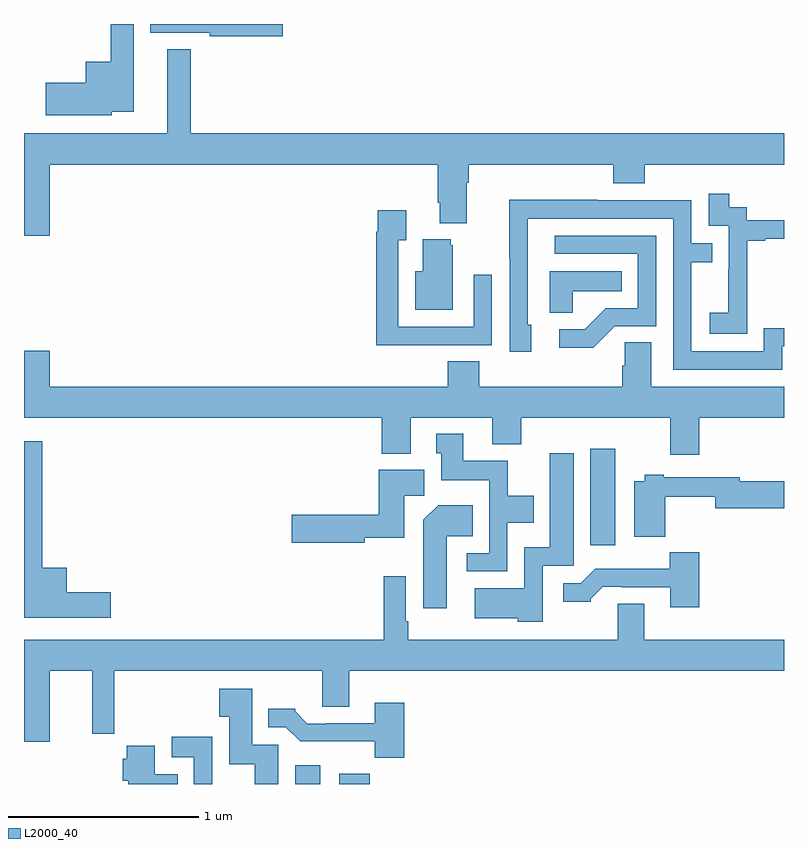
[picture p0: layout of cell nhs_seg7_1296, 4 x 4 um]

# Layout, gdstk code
import gdstk
lib = gdstk.Library(unit=1e-6, precision=1e-09)
def R(c, l, rs):  # rectangles x0, y0, x1, y1
    for r in rs: c.add(gdstk.rectangle(r[:2], r[2:], *l))
def P(c, l, *ps):  # polygons
    for p in ps: c.add(gdstk.Polygon(p, *l))
L2000_40 = (2000, 40)

nhs_seg7_1296 = lib.new_cell('nhs_seg7_1296')
R(nhs_seg7_1296, L2000_40, [(202.427,1020,202.558,1020.1), (202.658,1020,202.82,1020.055), (203.981,1021.257,204.112,1021.765)])
P(nhs_seg7_1296, L2000_40, [(202.363,1024),(201.665,1024),(201.665,1023.953),(201.978,1023.953),(201.978,1023.935),(202.363,1023.935)],
  [(201.462,1023.539),(201.577,1023.539),(201.577,1024),(201.456,1024),(201.456,1023.802),(201.326,1023.802),(201.326,1023.692),(201.114,1023.692),(201.114,1023.521),(201.462,1023.521)],
  [(201.136,1023.26),(203.177,1023.26),(203.177,1023.058),(203.189,1023.058),(203.189,1022.951),(203.329,1022.951),(203.329,1023.164),(203.342,1023.164),(203.342,1023.26),(204.101,1023.26),(204.101,1023.161),(204.266,1023.161),(204.266,1023.26),(205,1023.26),(205,1023.424),(201.877,1023.424),(201.877,1023.868),(201.755,1023.868),(201.755,1023.424),(201,1023.424),(201,1022.886),(201.136,1022.886)],
  [(204.807,1022.575),(204.806,1022.575),(204.806,1022.859),(204.901,1022.859),(204.901,1022.871),(205,1022.871),(205,1022.967),(204.804,1022.967),(204.804,1023.036),(204.712,1023.036),(204.712,1023.106),(204.603,1023.106),(204.603,1022.937),(204.708,1022.937),(204.708,1022.708),(204.707,1022.708),(204.707,1022.479),(204.609,1022.479),(204.609,1022.369),(204.807,1022.369)],
  [(204.991,1022.304),(205,1022.304),(205,1022.4),(204.894,1022.4),(204.894,1022.277),(204.513,1022.277),(204.513,1022.746),(204.623,1022.746),(204.623,1022.847),(204.513,1022.847),(204.513,1023.072),(204.017,1023.072),(204.017,1023.074),(203.554,1023.074),(203.554,1022.767),(203.556,1022.767),(203.556,1022.274),(203.671,1022.274),(203.671,1022.418),(203.652,1022.418),(203.652,1022.976),(204.417,1022.976),(204.417,1022.181),(204.991,1022.181)],
  [(203.147,1022.31),(203.463,1022.31),(203.463,1022.68),(203.367,1022.68),(203.367,1022.406),(202.971,1022.406),(202.971,1022.863),(203.011,1022.863),(203.011,1023.019),(202.863,1023.019),(202.863,1022.906),(202.855,1022.906),(202.855,1022.309),(203.147,1022.309)],
  [(204.108,1022.409),(204.327,1022.409),(204.327,1022.886),(203.793,1022.886),(203.793,1022.79),(204.231,1022.79),(204.231,1022.505),(204.062,1022.505),(203.951,1022.394),(203.817,1022.394),(203.817,1022.297),(203.995,1022.297)],
  [(203.257,1022.835),(203.246,1022.835),(203.246,1022.866),(203.099,1022.866),(203.099,1022.698),(203.06,1022.698),(203.06,1022.495),(203.257,1022.495)],
  [(203.889,1022.594),(204.146,1022.594),(204.146,1022.698),(203.768,1022.698),(203.768,1022.479),(203.889,1022.479)],
  [(204.554,1021.928),(205,1021.928),(205,1022.092),(204.301,1022.092),(204.301,1022.324),(204.162,1022.324),(204.162,1022.201),(204.149,1022.201),(204.149,1022.092),(203.396,1022.092),(203.396,1022.225),(203.231,1022.225),(203.231,1022.092),(201.136,1022.092),(201.136,1022.281),(201,1022.281),(201,1021.928),(202.883,1021.928),(202.883,1021.739),(203.035,1021.739),(203.035,1021.928),(203.465,1021.928),(203.465,1021.787),(203.618,1021.787),(203.618,1021.928),(204.401,1021.928),(204.401,1021.734),(204.554,1021.734)],
  [(203.544,1021.376),(203.683,1021.376),(203.683,1021.516),(203.547,1021.516),(203.547,1021.702),(203.311,1021.702),(203.311,1021.843),(203.171,1021.843),(203.171,1021.74),(203.195,1021.74),(203.195,1021.598),(203.448,1021.598),(203.448,1021.215),(203.331,1021.215),(203.331,1021.119),(203.544,1021.119)],
  [(201.457,1021.01),(201.226,1021.01),(201.226,1021.138),(201.097,1021.138),(201.097,1021.804),(201,1021.804),(201,1020.875),(201.457,1020.875)],
  [(203.73,1021.149),(203.893,1021.149),(203.893,1021.741),(203.768,1021.741),(203.768,1021.246),(203.634,1021.246),(203.634,1021.03),(203.373,1021.03),(203.373,1020.872),(203.598,1020.872),(203.598,1020.854),(203.73,1020.854)],
  [(202.794,1021.295),(203.002,1021.295),(203.002,1021.516),(203.107,1021.516),(203.107,1021.654),(202.868,1021.654),(202.868,1021.418),(202.41,1021.418),(202.41,1021.271),(202.794,1021.271)],
  [(204.374,1021.513),(204.638,1021.513),(204.638,1021.451),(205,1021.451),(205,1021.593),(204.766,1021.593),(204.766,1021.614),(204.367,1021.614),(204.367,1021.627),(204.267,1021.627),(204.267,1021.594),(204.212,1021.594),(204.212,1021.301),(204.374,1021.301)],
  [(203.224,1021.304),(203.363,1021.304),(203.363,1021.468),(203.18,1021.468),(203.102,1021.39),(203.102,1020.924),(203.224,1020.924)],
  [(204.554,1021.219),(204.399,1021.219),(204.399,1021.132),(204.007,1021.132),(203.931,1021.056),(203.838,1021.056),(203.838,1020.959),(203.982,1020.959),(203.982,1020.974),(204.046,1021.038),(204.145,1021.038),(204.145,1021.035),(204.401,1021.035),(204.401,1020.93),(204.554,1020.93)],
  [(201.136,1020.596),(201.358,1020.596),(201.358,1020.264),(201.476,1020.264),(201.476,1020.596),(202.571,1020.596),(202.571,1020.406),(202.711,1020.406),(202.711,1020.596),(205,1020.596),(205,1020.76),(204.265,1020.76),(204.265,1020.95),(204.125,1020.95),(204.125,1020.76),(203.023,1020.76),(203.023,1020.856),(203.01,1020.856),(203.01,1021.093),(202.894,1021.093),(202.894,1020.76),(201,1020.76),(201,1020.222),(201.136,1020.222)],
  [(202.339,1020.207),(202.201,1020.207),(202.201,1020.502),(202.028,1020.502),(202.028,1020.355),(202.079,1020.355),(202.079,1020.104),(202.214,1020.104),(202.214,1020),(202.339,1020)],
  [(203,1020.427),(202.847,1020.427),(202.847,1020.321),(202.591,1020.321),(202.591,1020.318),(202.492,1020.318),(202.428,1020.382),(202.428,1020.397),(202.286,1020.397),(202.286,1020.3),(202.377,1020.3),(202.453,1020.224),(202.845,1020.224),(202.845,1020.137),(203,1020.137)],
  [(201.99,1020.25),(201.777,1020.25),(201.777,1020.141),(201.894,1020.141),(201.894,1020),(201.99,1020)],
  [(201.809,1020.052),(201.688,1020.052),(201.688,1020.202),(201.541,1020.202),(201.541,1020.132),(201.521,1020.132),(201.521,1020.018),(201.548,1020.018),(201.548,1020),(201.809,1020)])

lib.write_gds('nhs_seg7_1296.gds')
